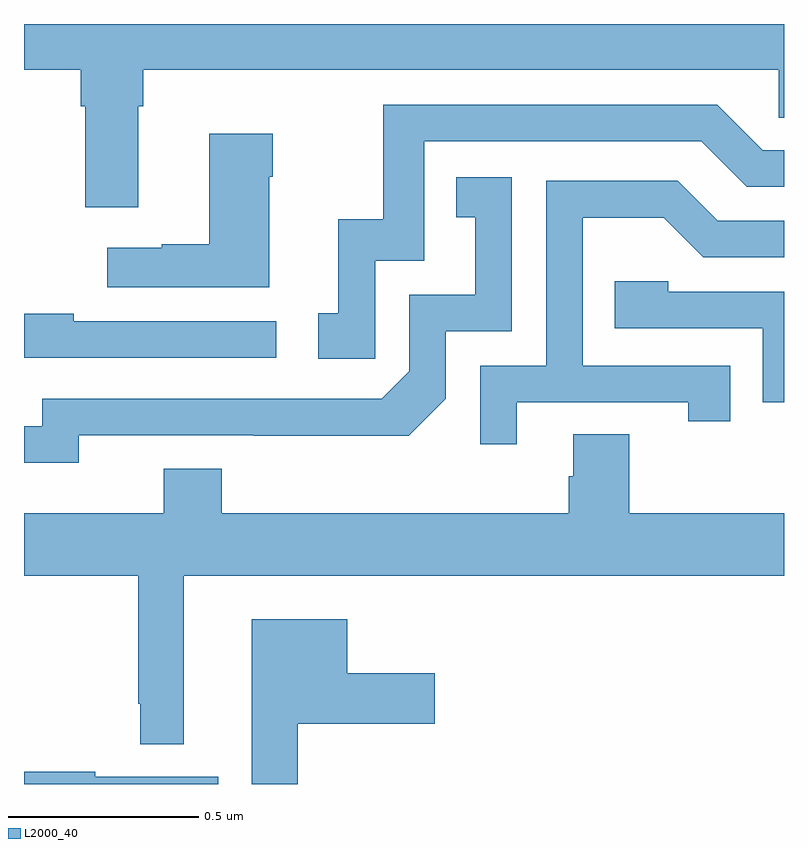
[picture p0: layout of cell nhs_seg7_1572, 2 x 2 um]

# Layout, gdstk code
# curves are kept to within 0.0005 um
import gdstk
lib = gdstk.Library(unit=1e-6, precision=1e-09)
def P(c, l, *ps):  # polygons
    for p in ps: c.add(gdstk.Polygon(p, *l))
L2000_40 = (2000, 40)

nhs_seg7_1572 = lib.new_cell('nhs_seg7_1572')
P(nhs_seg7_1572, L2000_40, [(132.301,1069.784),(132.314,1069.784),(132.314,1069.88),(133.986,1069.88),(133.986,1069.753),(134,1069.753),(134,1070),(132,1070),(132,1069.88),(132.149,1069.88),(132.149,1069.784),(132.161,1069.784),(132.161,1069.518),(132.301,1069.518)],
  [(132.924,1069.377),(133.053,1069.377),(133.053,1069.692),(133.782,1069.692),(133.902,1069.572),(134,1069.572),(134,1069.668),(133.944,1069.668),(133.824,1069.788),(132.945,1069.788),(132.945,1069.486),(132.827,1069.486),(132.827,1069.239),(132.774,1069.239),(132.774,1069.119),(132.924,1069.119)],
  [(132.646,1069.598),(132.654,1069.598),(132.654,1069.711),(132.488,1069.711),(132.488,1069.421),(132.362,1069.421),(132.362,1069.411),(132.219,1069.411),(132.219,1069.307),(132.646,1069.307)],
  [(132.144,1068.918),(132.604,1068.918),(132.604,1068.917),(133.012,1068.917),(133.11,1069.014),(133.11,1069.191),(133.284,1069.191),(133.284,1069.597),(133.138,1069.597),(133.138,1069.491),(133.187,1069.491),(133.187,1069.287),(133.014,1069.287),(133.014,1069.086),(132.942,1069.014),(132.048,1069.014),(132.048,1068.942),(132,1068.942),(132,1068.845),(132.144,1068.845)],
  [(133.297,1068.894),(133.297,1069.005),(133.748,1069.005),(133.748,1068.954),(133.859,1068.954),(133.859,1069.101),(133.47,1069.101),(133.47,1069.49),(133.684,1069.49),(133.788,1069.386),(134,1069.386),(134,1069.482),(133.825,1069.482),(133.72,1069.587),(133.374,1069.587),(133.374,1069.101),(133.2,1069.101),(133.2,1068.894)],
  [(134,1069.296),(133.695,1069.296),(133.695,1069.323),(133.555,1069.323),(133.555,1069.2),(133.944,1069.2),(133.944,1069.005),(134,1069.005)],
  [(132.664,1069.218),(132.131,1069.218),(132.131,1069.238),(132,1069.238),(132,1069.122),(132.664,1069.122)],
  [(132.421,1068.548),(134,1068.548),(134,1068.712),(133.593,1068.712),(133.593,1068.92),(133.445,1068.92),(133.445,1068.81),(133.433,1068.81),(133.433,1068.712),(132.521,1068.712),(132.521,1068.829),(132.368,1068.829),(132.368,1068.712),(132,1068.712),(132,1068.548),(132.3,1068.548),(132.3,1068.211),(132.306,1068.211),(132.306,1068.104),(132.421,1068.104)],
  [(132.721,1068.158),(133.081,1068.158),(133.081,1068.292),(132.85,1068.292),(132.85,1068.433),(132.599,1068.433),(132.599,1068),(132.721,1068)],
  [(132.511,1068.019),(132.188,1068.019),(132.188,1068.032),(132,1068.032),(132,1068),(132.511,1068)])

lib.write_gds('nhs_seg7_1572.gds')
